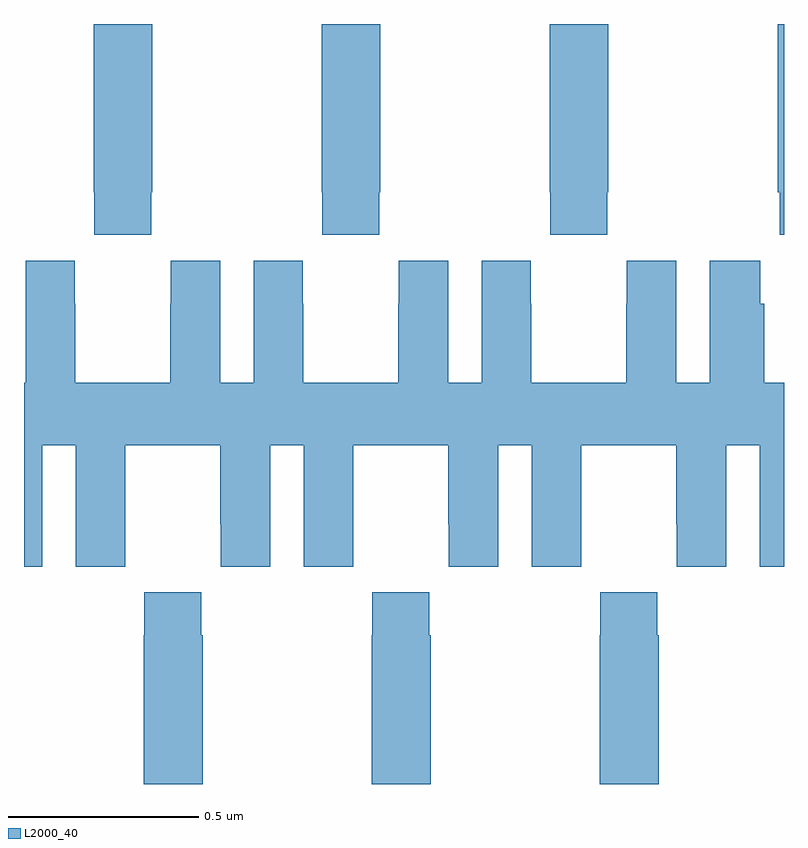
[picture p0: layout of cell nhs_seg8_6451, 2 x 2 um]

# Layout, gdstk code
import gdstk
lib = gdstk.Library(unit=1e-6, precision=1e-09)
def P(c, l, *ps):  # polygons
    for p in ps: c.add(gdstk.Polygon(p, *l))
L2000_40 = (2000, 40)

nhs_seg8_6451 = lib.new_cell('nhs_seg8_6451')
P(nhs_seg8_6451, L2000_40, [(196.335,1158.457),(196.338,1158.457),(196.338,1158.9),(196.183,1158.9),(196.183,1158.457),(196.185,1158.457),(196.185,1158.345),(196.335,1158.345)],
  [(196.935,1158.457),(196.938,1158.457),(196.938,1158.9),(196.783,1158.9),(196.783,1158.457),(196.785,1158.457),(196.785,1158.345),(196.935,1158.345)],
  [(197.535,1158.457),(197.538,1158.457),(197.538,1158.9),(197.383,1158.9),(197.383,1158.457),(197.385,1158.457),(197.385,1158.345),(197.535,1158.345)],
  [(198,1158.9),(197.983,1158.9),(197.983,1158.457),(197.989,1158.457),(197.989,1158.345),(198,1158.345)],
  [(196.048,1157.792),(196.136,1157.792),(196.136,1157.472),(196.266,1157.472),(196.266,1157.584),(196.267,1157.584),(196.267,1157.792),(196.517,1157.792),(196.517,1157.584),(196.518,1157.584),(196.518,1157.472),(196.648,1157.472),(196.648,1157.792),(196.736,1157.792),(196.736,1157.472),(196.866,1157.472),(196.866,1157.584),(196.867,1157.584),(196.867,1157.792),(197.117,1157.792),(197.117,1157.584),(197.118,1157.584),(197.118,1157.472),(197.248,1157.472),(197.248,1157.792),(197.336,1157.792),(197.336,1157.472),(197.466,1157.472),(197.466,1157.584),(197.467,1157.584),(197.467,1157.792),(197.717,1157.792),(197.717,1157.584),(197.718,1157.584),(197.718,1157.472),(197.848,1157.472),(197.848,1157.792),(197.936,1157.792),(197.936,1157.472),(198,1157.472),(198,1157.956),(197.948,1157.956),(197.948,1158.164),(197.938,1158.164),(197.938,1158.277),(197.804,1158.277),(197.804,1157.956),(197.716,1157.956),(197.716,1158.277),(197.586,1158.277),(197.586,1158.164),(197.585,1158.164),(197.585,1157.956),(197.335,1157.956),(197.335,1158.164),(197.334,1158.164),(197.334,1158.277),(197.204,1158.277),(197.204,1157.956),(197.116,1157.956),(197.116,1158.277),(196.986,1158.277),(196.986,1158.164),(196.985,1158.164),(196.985,1157.956),(196.735,1157.956),(196.735,1158.164),(196.734,1158.164),(196.734,1158.277),(196.604,1158.277),(196.604,1157.956),(196.516,1157.956),(196.516,1158.277),(196.386,1158.277),(196.386,1158.164),(196.385,1158.164),(196.385,1157.956),(196.135,1157.956),(196.135,1158.164),(196.134,1158.164),(196.134,1158.277),(196.004,1158.277),(196.004,1157.956),(196,1157.956),(196,1157.472),(196.048,1157.472)],
  [(196.47,1157.291),(196.467,1157.291),(196.467,1157.404),(196.317,1157.404),(196.317,1157.291),(196.315,1157.291),(196.315,1156.9),(196.47,1156.9)],
  [(197.67,1157.291),(197.667,1157.291),(197.667,1157.404),(197.517,1157.404),(197.517,1157.291),(197.515,1157.291),(197.515,1156.9),(197.67,1156.9)],
  [(197.07,1157.291),(197.067,1157.291),(197.067,1157.404),(196.917,1157.404),(196.917,1157.291),(196.915,1157.291),(196.915,1156.9),(197.07,1156.9)])

lib.write_gds('nhs_seg8_6451.gds')
